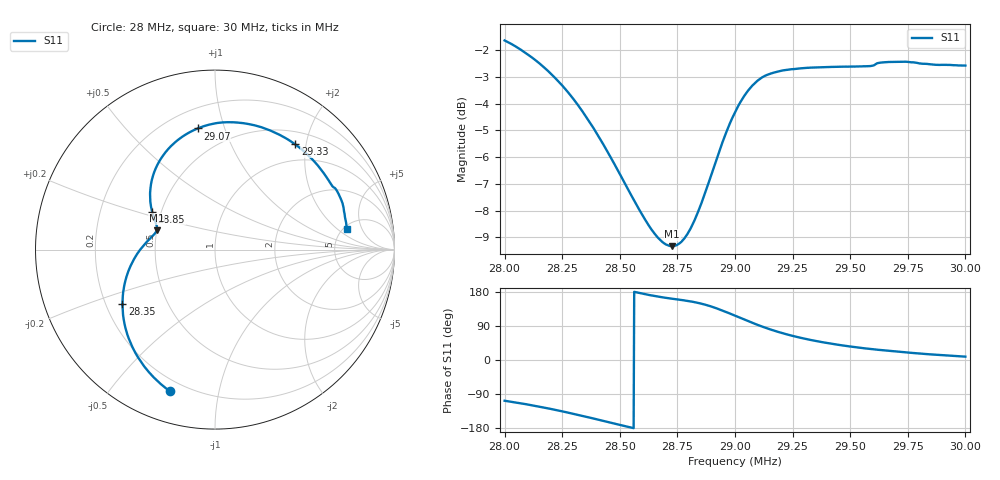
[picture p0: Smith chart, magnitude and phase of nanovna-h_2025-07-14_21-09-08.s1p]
! NanoVNA-App by OneOfEleven et al v1.1.209 (+OD18)
! Date: 2025-07-14 21:09:09
! Start: 28MHz Stop: 30MHz Points: 801
! S-Parameter data: F S11
# Hz S RI R 50
!  Frequency  S11_Real  S11_Imag
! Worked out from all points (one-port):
!   801 points, 28 MHz to 30 MHz, reference 50 ohm
!   lowest |S11| = -9.3 dB at 28.73 MHz (marker M1), VSWR 2.04, Z = 25 + j6.09 ohm
!   |S11| at or under -10 dB: nowhere
!   S11 on the Smith chart (normalised r, x): 28 MHz: 0.14, -0.72; 28.35 MHz: 0.27, -0.25; 28.85 MHz: 0.45, +0.23; 29.07 MHz: 0.32, +0.81; 29.33 MHz: 0.70, +1.81; 30 MHz: 5.36, +2.74
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2.8e7  -0.2491 -0.7902
2.81175e7  -0.3776 -0.6718
2.825e7  -0.4866 -0.4787
2.83525e7  -0.5155 -0.3025
2.84225e7  -0.5021 -0.1847
2.85e7  -0.4609 -0.071
2.86025e7  -0.386 0.0366
2.867e7  -0.3436 0.08
2.87275e7  -0.3245 0.1075
2.875e7  -0.3228 0.1186
2.88075e7  -0.3332 0.1583
2.88525e7  -0.3505 0.2116
2.88925e7  -0.3614 0.282
2.8935e7  -0.3537 0.3801
2.89675e7  -0.3257 0.4623
2.9e7  -0.2759 0.5423
2.90375e7  -0.1944 0.6203
2.9075e7  -0.0963 0.6752
2.911e7  0.000465 0.7033
2.91475e7  0.1014 0.7094
2.92e7  0.2257 0.6911
2.925e7  0.3249 0.656
2.933e7  0.447 0.5863
2.941e7  0.5335 0.5114
2.95e7  0.6019 0.431
2.96275e7  0.6728 0.3368
2.975e7  0.711 0.2549
3e7  0.7348 0.1142
